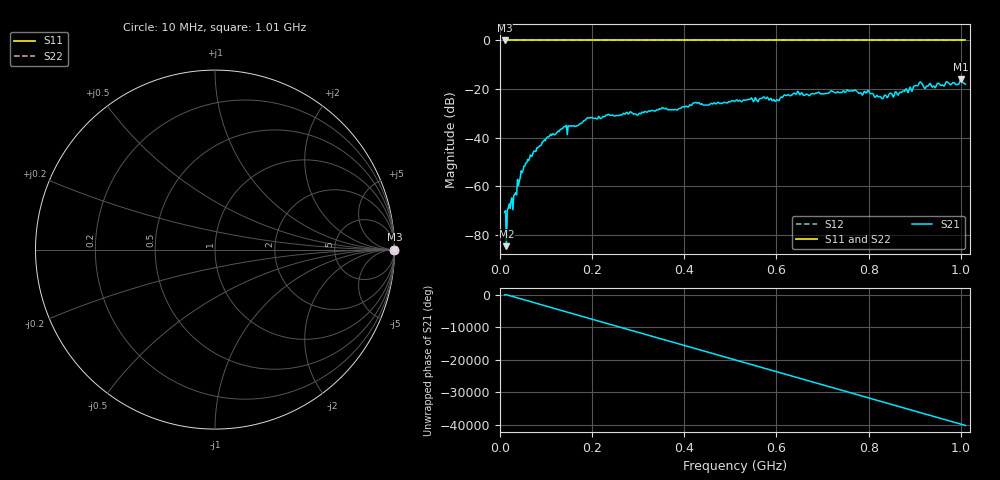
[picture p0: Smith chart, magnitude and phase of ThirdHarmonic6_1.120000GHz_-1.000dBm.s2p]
! 8/16/2025 10:46:14 AM
! C:\ANRITSUVNA\TEMP\TEMP.S2P
! CHANNEL.1
! TR.MEASUREMENT
! RAW.DATA
! RF.CORRECTION.OFF
! AVERAGING.OFF
! IF.BANDWIDTH: 5KHZ
! SWEEPTYPE:  FREQ.SWEEP(Linear)
! Reference Plane Port Info
! PORT:  PORT1  PORT2
! DISTANCE:  0  m  0  m
! TIME:  0  s  0  s
! PHASE.OFFSET:  0  deg.  0  deg.
! LOSS:  0  dB  0  dB
! REF.LOSS:  0  dB  0  dB
! REF.FREQ:  0  Hz  0  Hz
! Power Info
! POWER:  -20  dBm  -20  dBm
! EFF.POWER:  -20  dBm  -20  dBm
! SOURCE.ATTEN:  0  dB  0  dB
! TEST.ATTEN:  0  dB  0  dB
# GHZ S RI R 50.0
! FREQ.GHZ  S11RE  S11IM  S21RE  S21IM  S12RE  S12IM  S22RE  S22IM
!; PortSelection: Port_12
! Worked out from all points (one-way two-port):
!   501 points, 10 MHz to 1.01 GHz, reference 50 ohm
!   highest |S21| = -15.80 dB at 1 GHz (marker M1); lowest = -84.6 dB at 14 MHz (marker M2)
!   lowest |S11| = 0.0 dB at 10 MHz (marker M3)
!   |S11| at or under -10 dB: nowhere
!   |S22| runs from 0.0 to 0.0 dB; largest |S21 - S12| = 1.1
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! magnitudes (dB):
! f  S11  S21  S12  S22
! 10 MHz  0.0  -70.7  0.0  0.0
! 14 MHz  0.0  -84.6  0.0  0.0
! 18 MHz  0.0  -68.9  0.0  0.0
! 22 MHz  0.0  -69.1  0.0  0.0
! 32 MHz  0.0  -63.3  0.0  0.0
! 50 MHz  0.0  -53.4  0.0  0.0
! 70 MHz  0.0  -47.5  0.0  0.0
! 106 MHz  0.0  -39.7  0.0  0.0
! 178 MHz  0.0  -33.9  0.0  0.0
! 194 MHz  0.0  -31.9  0.0  0.0
! 344 MHz  0.0  -28.4  0.0  0.0
! 510 MHz  0.0  -25.0  0.0  0.0
! 602 MHz  0.0  -24.3  0.0  0.0
! 644 MHz  0.0  -21.8  0.0  0.0
! 678 MHz  0.0  -21.9  0.0  0.0
! 768 MHz  0.0  -20.6  0.0  0.0
! 828 MHz  0.0  -23.8  0.0  0.0
! 844 MHz  0.0  -22.2  0.0  0.0
! 912 MHz  0.0  -17.1  0.0  0.0
! 942 MHz  0.0  -18.8  0.0  0.0
! 1 GHz  0.0  -15.8  0.0  0.0
! 1.01 GHz  0.0  -18.0  0.0  0.0
